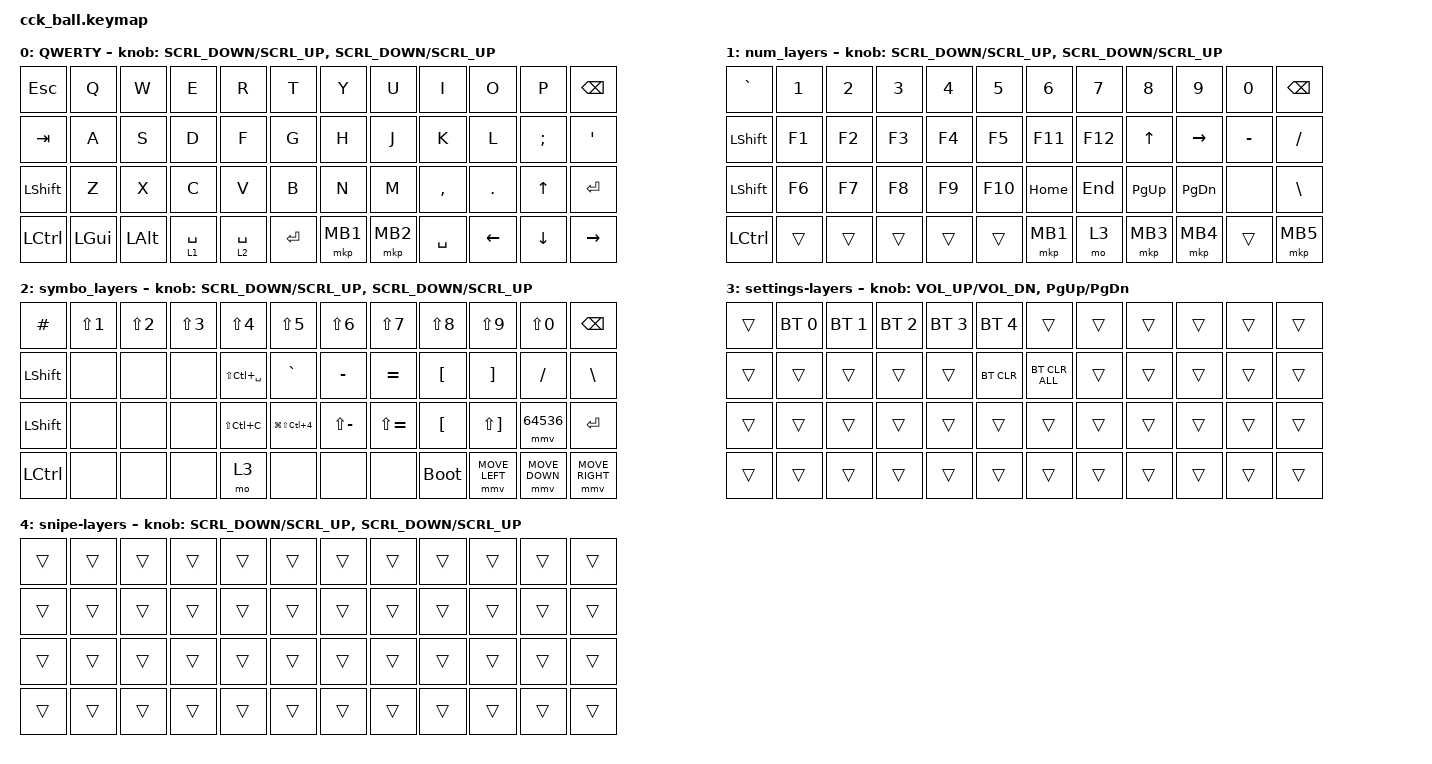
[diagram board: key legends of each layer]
#define ZMK_POINTING_DEFAULT_MOVE_VAL 1000 // 600
#define ZMK_POINTING_DEFAULT_SCRL_VAL 12   // 10

#include <input/processors.dtsi>
#include <zephyr/dt-bindings/input/input-event-codes.h>
#include <behaviors.dtsi>
#include <dt-bindings/zmk/bt.h>
#include <dt-bindings/zmk/keys.h>
#include <dt-bindings/zmk/pointing.h>

&mmv_input_listener { input-processors = <&zip_xy_scaler 2 1>; };

&msc_input_listener { input-processors = <&zip_scroll_scaler 2 1>; };

&msc {
    acceleration-exponent = <0>;      // 0
    time-to-max-speed-ms = <300>;       // 300
    delay-ms = <0>;                   // 0
};

&mmv {
    time-to-max-speed-ms = <500>;
    acceleration-exponent = <1>;
    trigger-period-ms = <16>;
};

&soft_off { hold-time-ms = <2000>; };

/ {
    behaviors {
        ec_ms: encoder_mouse_scroll {
            compatible = "zmk,behavior-encoder-mouse-scroll";
            #sensor-binding-cells = <2>;
        };
    };

    keymap {
        compatible = "zmk,keymap";

        QWERTY {
            bindings = <
                &kp ESC &kp Q &kp W &kp E &kp R &kp T &kp Y &kp U &kp I &kp O &kp P &kp BACKSPACE
                &kp TAB &kp A &kp S &kp D &kp F &kp G &kp H &kp J &kp K &kp L &kp SEMI &kp SQT
                &kp LSHIFT &kp Z &kp X &kp C &kp V &kp B &kp N &kp M &kp COMMA &kp DOT &kp UP &kp ENTER
                &kp LCTRL &kp LGUI &kp LALT &lt 1 SPACE &lt 2 SPACE &kp ENTER &mkp MB1 &mkp MB2 &kp SPACE &kp LEFT &kp DOWN &kp RIGHT
            >;

            sensor-bindings = <&ec_ms SCRL_DOWN SCRL_UP &ec_ms SCRL_DOWN SCRL_UP>;
        };

        num_layers {
            bindings = <
                &kp GRAVE &kp N1 &kp N2 &kp N3 &kp N4 &kp N5 &kp N6 &kp N7 &kp N8 &kp N9 &kp N0 &kp BACKSPACE
                &kp LSHIFT &kp F1 &kp F2 &kp F3 &kp F4 &kp F5 &kp F11 &kp F12 &kp UP &kp RIGHT &kp MINUS &kp FSLH
                &kp LSHIFT &kp F6 &kp F7 &kp F8 &kp F9 &kp F10 &kp HOME &kp END &kp PG_UP &kp PG_DN &none &kp BSLH
                &kp LCTRL &trans &trans &trans &trans &trans &mkp MB1 &mo 3 &mkp MB3 &mkp MB4 &trans &mkp MB5
            >;

            sensor-bindings = <&ec_ms SCRL_DOWN SCRL_UP &ec_ms SCRL_DOWN SCRL_UP>;
        };

        symbo_layers {
            bindings = <
                &kp HASH &kp LS(N1) &kp LS(N2) &kp LS(N3) &kp LS(N4) &kp LS(N5) &kp LS(N6) &kp LS(N7) &kp LS(N8) &kp LS(N9) &kp LS(N0) &kp BACKSPACE
                &kp LSHIFT &none &none &none &kp LS(LC(SPACE)) &kp GRAVE &kp MINUS &kp EQUAL &kp LBKT &kp RBKT &kp FSLH &kp BSLH
                &kp LSHIFT &none &none &none &kp LS(LC(C)) &kp LG(LS(LC(N4))) &kp LS(MINUS) &kp LS(EQUAL) &kp LBKT &kp LS(RBKT) &mmv 64536 &kp ENTER
                &kp LCTRL &none &none &none &mo 3 &none &none &none &bootloader &mmv MOVE_LEFT &mmv MOVE_DOWN &mmv MOVE_RIGHT
            >;

            sensor-bindings = <&ec_ms SCRL_DOWN SCRL_UP &ec_ms SCRL_DOWN SCRL_UP>;
        };

        settings-layers {
            bindings = <
&trans  &bt BT_SEL 0  &bt BT_SEL 1  &bt BT_SEL 2  &bt BT_SEL 3  &bt BT_SEL 4  &trans          &trans  &trans  &trans  &trans  &trans
&trans  &trans        &trans        &trans        &trans        &bt BT_CLR    &bt BT_CLR_ALL  &trans  &trans  &trans  &trans  &trans
&trans  &trans        &trans        &trans        &trans        &trans        &trans          &trans  &trans  &trans  &trans  &trans
&trans  &trans        &trans        &trans        &trans        &trans        &trans          &trans  &trans  &trans  &trans  &trans
            >;

            sensor-bindings = <&inc_dec_kp C_VOL_UP C_VOL_DN &inc_dec_kp PG_UP PG_DN>;
        };

        snipe-layers {
            bindings = <
&trans  &trans  &trans  &trans  &trans  &trans  &trans  &trans  &trans  &trans  &trans  &trans
&trans  &trans  &trans  &trans  &trans  &trans  &trans  &trans  &trans  &trans  &trans  &trans
&trans  &trans  &trans  &trans  &trans  &trans  &trans  &trans  &trans  &trans  &trans  &trans
&trans  &trans  &trans  &trans  &trans  &trans  &trans  &trans  &trans  &trans  &trans  &trans
            >;

            sensor-bindings = <&ec_ms SCRL_DOWN SCRL_UP &ec_ms SCRL_DOWN SCRL_UP>;
        };
    };
};
